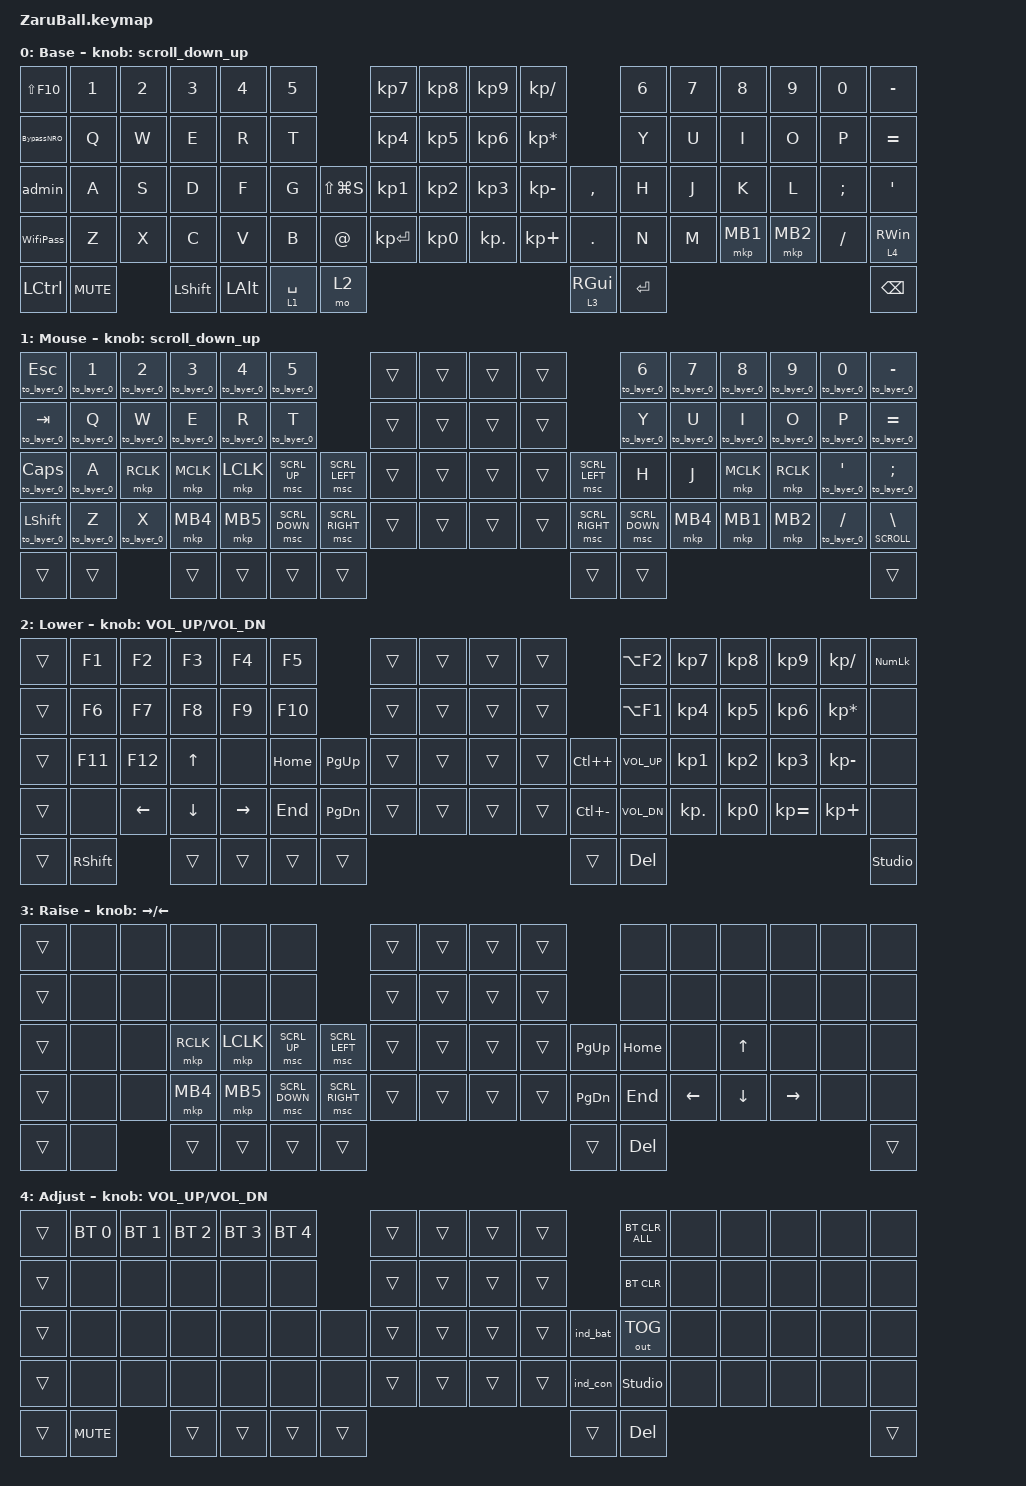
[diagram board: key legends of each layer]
// スクロール量の設定

#define ZMK_POINTING_DEFAULT_SCRL_VAL 100

#include <behaviors/rgbled_widget.dtsi>
#include <input/processors.dtsi>
#include <dt-bindings/zmk/input_transform.h>
#include <behaviors.dtsi>
#include <dt-bindings/zmk/bt.h>
#include <dt-bindings/zmk/keys.h>
#include <dt-bindings/zmk/outputs.h>
#include <dt-bindings/zmk/pointing.h>

#define BASE     0
#define MOUSE    1
#define LOWER    2
#define RAISE    3
#define ADJUST   4
#define SCROLL   2

&trackball_listener {
    input-processors = <
                         &zip_temp_layer MOUSE 500
    >;

    scroller {
        layers = <SCROLL>;
        input-processors = <
                            &zip_xy_transform (INPUT_TRANSFORM_Y_INVERT)
                            &zip_xy_scaler 1 20
                            &zip_xy_to_scroll_mapper
        >;
    };
};

/ {
    conditional_layers {
        compatible = "zmk,conditional-layers";

        tri_layer {
            if-layers = <2 3>;
            then-layer = <4>;
        };
    };
};

/ {
    behaviors {
        scroll_down_up: behavior_sensor_rotate_mouse_wheel_down_up {
            compatible = "zmk,behavior-sensor-rotate";
            #sensor-binding-cells = <0>;
            bindings = <&msc SCRL_DOWN>, <&msc SCRL_UP>;

            tap-ms = <20>; // スクロールのタップ時間
        };

        td0: tap_dance_0 {
            compatible = "zmk,behavior-tap-dance";
            #binding-cells = <0>;
            tapping-term-ms = <200>;
            bindings = <&mt LALT LANG2>, <&mo RAISE>, <&mo MOUSE>;
        };

        td1: tap_dance_1 {
            compatible = "zmk,behavior-tap-dance";
            #binding-cells = <0>;
            tapping-term-ms = <200>;
            bindings = <&mt RCTL LANG1>, <&mo RAISE>, <&mo MOUSE>;
        };

        // Customed Hold-Tap for SandS

        SandS: SandS {
            compatible = "zmk,behavior-hold-tap";
            #binding-cells = <2>;
            flavor = "tap-unless-interrupted";
            tapping-term-ms = <500>;
            quick-tap-ms = <500>;
            bindings = <&kp>, <&kp>;

            display-name = "SandS";
        };
    };
};

&sl { release-after-ms = <250>; }; // time needed for double click (for mkp_exit_AML)
/ {
    macros {
        // When in AML, move to default layer when key (except mouse button) pressed

        to_layer_0: to_layer_0 {
            compatible = "zmk,behavior-macro-one-param";
            #binding-cells = <1>;
            bindings = <&tog MOUSE &macro_param_1to1 &kp MACRO_PLACEHOLDER>;
            label = "TO_layer_0";
        };

        // When LCLK pressed, exit AML (after 250ms cause by sticky layer

        mkp_exit_AML: mkp_exit_AML {
            compatible = "zmk,behavior-macro-one-param";
            #binding-cells = <1>;
            bindings =
                <&macro_press>,
                <&macro_param_1to1 &mkp MACRO_PLACEHOLDER>,
                <&macro_pause_for_release>,
                <&macro_release>,
                <&macro_param_1to1 &mkp MACRO_PLACEHOLDER>,
                <&macro_tap>,
                <&sl MOUSE>;

            label = "MKP_EXIT_AML";
        };

        BypassNRO: BypassNRO {
            compatible = "zmk,behavior-macro";
            #binding-cells = <0>;
            bindings = <&kp O &kp O &kp B &kp E &kp NON_US_BACKSLASH &kp NON_US_BACKSLASH &kp B &kp Y &kp P &kp A &kp S &kp S &kp N &kp R &kp O &kp PERIOD &kp C &kp M &kp D &kp ENTER>;
            label = "BYPASSNRO";
        };

        admin: admin {
            compatible = "zmk,behavior-macro";
            #binding-cells = <0>;
            bindings = <&kp A &kp D &kp M &kp I &kp N &kp ENTER>;
            label = "ADMIN";
        };

        WifiPass: WifiPass {
            compatible = "zmk,behavior-macro";
            #binding-cells = <0>;
            bindings = <&kp G &kp S &kp S &kp M &kp B &kp S &kp I &kp Q &kp G &kp ENTER>;
            label = "WIFIPASS";
        };
    };
};

/ {
    keymap {
        compatible = "zmk,keymap";

        base_layer {
            display-name = "Base";
            sensor-bindings = <&scroll_down_up>;
            bindings = <
&kp LS(F10)  &kp N1      &kp N2  &kp N3          &kp N4        &kp N5                        &kp KP_N7     &kp KP_N8  &kp KP_N9   &kp KP_DIVIDE                       &kp NUMBER_6  &kp N7  &kp N8    &kp N9    &kp N0    &kp MINUS
&BypassNRO   &kp Q       &kp W   &kp E           &kp R         &kp T                         &kp KP_N4     &kp KP_N5  &kp KP_N6   &kp KP_MULTIPLY                     &kp Y         &kp U   &kp I     &kp O     &kp P     &kp EQUAL
&admin       &kp A       &kp S   &kp D           &kp F         &kp G        &kp LS(LG(S))    &kp KP_N1     &kp KP_N2  &kp KP_N3   &kp KP_MINUS       &kp COMMA        &kp H         &kp J   &kp K     &kp L     &kp SEMI  &kp SQT
&WifiPass    &kp Z       &kp X   &kp C           &kp V         &kp B        &kp AT_SIGN      &kp KP_ENTER  &kp KP_N0  &kp KP_DOT  &kp KP_PLUS        &kp PERIOD       &kp N         &kp M   &mkp MB1  &mkp MB2  &kp FSLH  &lt 4 RWIN
&kp LCTRL    &kp C_MUTE          &kp LEFT_SHIFT  &kp LEFT_ALT  &lt 1 SPACE  &mo 2                                                                    &lt 3 RIGHT_GUI  &kp ENTER                                           &kp BACKSPACE
            >;
        };

        mouse_layer {
            display-name = "Mouse";
            sensor-bindings = <&scroll_down_up>;
            bindings = <
&to_layer_0 ESC     &to_layer_0 N1  &to_layer_0 N2  &to_layer_0 N3  &to_layer_0 N4  &to_layer_0 N5                     &trans  &trans  &trans  &trans                     &to_layer_0 N6  &to_layer_0 N7  &to_layer_0 N8  &to_layer_0 N9  &to_layer_0 N0            &to_layer_0 MINUS
&to_layer_0 TAB     &to_layer_0 Q   &to_layer_0 W   &to_layer_0 E   &to_layer_0 R   &to_layer_0 T                      &trans  &trans  &trans  &trans                     &to_layer_0 Y   &to_layer_0 U   &to_layer_0 I   &to_layer_0 O   &to_layer_0 P             &to_layer_0 EQUAL
&to_layer_0 CAPS    &to_layer_0 A   &mkp RCLK       &mkp MCLK       &mkp LCLK       &msc SCRL_UP    &msc SCRL_LEFT     &trans  &trans  &trans  &trans    &msc SCRL_LEFT   &kp H           &kp J           &mkp MCLK       &mkp RCLK       &to_layer_0 SINGLE_QUOTE  &to_layer_0 SEMICOLON
&to_layer_0 LSHIFT  &to_layer_0 Z   &to_layer_0 X   &mkp MB4        &mkp MB5        &msc SCRL_DOWN  &msc SCRL_RIGHT    &trans  &trans  &trans  &trans    &msc SCRL_RIGHT  &msc SCRL_DOWN  &mkp MB4        &mkp MB1        &mkp MB2        &to_layer_0 SLASH         &lt SCROLL BACKSLASH
&trans              &trans                          &trans          &trans          &trans          &trans                                               &trans           &trans                                                                                    &trans
            >;
        };

        lower_layer {
            display-name = "Lower";
            sensor-bindings = <&inc_dec_kp C_VOL_UP C_VOL_DN>;
            bindings = <
&trans  &kp F1     &kp F2    &kp F3    &kp F4     &kp F5                 &trans  &trans  &trans  &trans                   &kp LA(F2)    &kp KP_N7   &kp KP_N8  &kp KP_N9     &kp KP_SLASH     &kp KP_NUMLOCK
&trans  &kp F6     &kp F7    &kp F8    &kp F9     &kp F10                &trans  &trans  &trans  &trans                   &kp LA(F1)    &kp KP_N4   &kp KP_N5  &kp KP_N6     &kp KP_MULTIPLY  &none
&trans  &kp F11    &kp F12   &kp UP    &none      &kp HOME  &kp PG_UP    &trans  &trans  &trans  &trans    &kp LC(PLUS)   &kp C_VOL_UP  &kp KP_N1   &kp KP_N2  &kp KP_N3     &kp KP_MINUS     &none
&trans  &none      &kp LEFT  &kp DOWN  &kp RIGHT  &kp END   &kp PG_DN    &trans  &trans  &trans  &trans    &kp LC(MINUS)  &kp C_VOL_DN  &kp KP_DOT  &kp KP_N0  &kp KP_EQUAL  &kp KP_PLUS      &none
&trans  &kp RSHFT            &trans    &trans     &trans    &trans                                         &trans         &kp DEL                                                             &studio_unlock
            >;
        };

        raise_layer {
            display-name = "Raise";
            sensor-bindings = <&inc_dec_kp RIGHT LEFT>;
            bindings = <
&trans  &none  &none  &none      &none      &none                              &trans  &trans  &trans  &trans               &none     &none     &none     &none      &none  &none
&trans  &none  &none  &none      &none      &none                              &trans  &trans  &trans  &trans               &none     &none     &none     &none      &none  &none
&trans  &none  &none  &mkp RCLK  &mkp LCLK  &msc SCRL_UP    &msc SCRL_LEFT     &trans  &trans  &trans  &trans    &kp PG_UP  &kp HOME  &none     &kp UP    &none      &none  &none
&trans  &none  &none  &mkp MB4   &mkp MB5   &msc SCRL_DOWN  &msc SCRL_RIGHT    &trans  &trans  &trans  &trans    &kp PG_DN  &kp END   &kp LEFT  &kp DOWN  &kp RIGHT  &none  &none
&trans  &none         &trans     &trans     &trans          &trans                                               &trans     &kp DEL                                         &trans
            >;
        };

        adjust_layer {
            display-name = "Adjust";
            sensor-bindings = <&inc_dec_kp C_VOL_UP C_VOL_DN>;
            bindings = <
&trans  &bt BT_SEL 0  &bt BT_SEL 1  &bt BT_SEL 2  &bt BT_SEL 3  &bt BT_SEL 4            &trans  &trans  &trans  &trans              &bt BT_CLR_ALL  &none  &none  &none  &none  &none
&trans  &none         &none         &none         &none         &none                   &trans  &trans  &trans  &trans              &bt BT_CLR      &none  &none  &none  &none  &none
&trans  &none         &none         &none         &none         &none         &none     &trans  &trans  &trans  &trans    &ind_bat  &out OUT_TOG    &none  &none  &none  &none  &none
&trans  &none         &none         &none         &none         &none         &none     &trans  &trans  &trans  &trans    &ind_con  &studio_unlock  &none  &none  &none  &none  &none
&trans  &kp C_MUTE                  &trans        &trans        &trans        &trans                                      &trans    &kp DEL                                     &trans
            >;
        };

        // Extra layer can be added in ZMK STUDIO

        extra1 { status = "reserved"; };

        extra2 { status = "reserved"; };
    };
};
